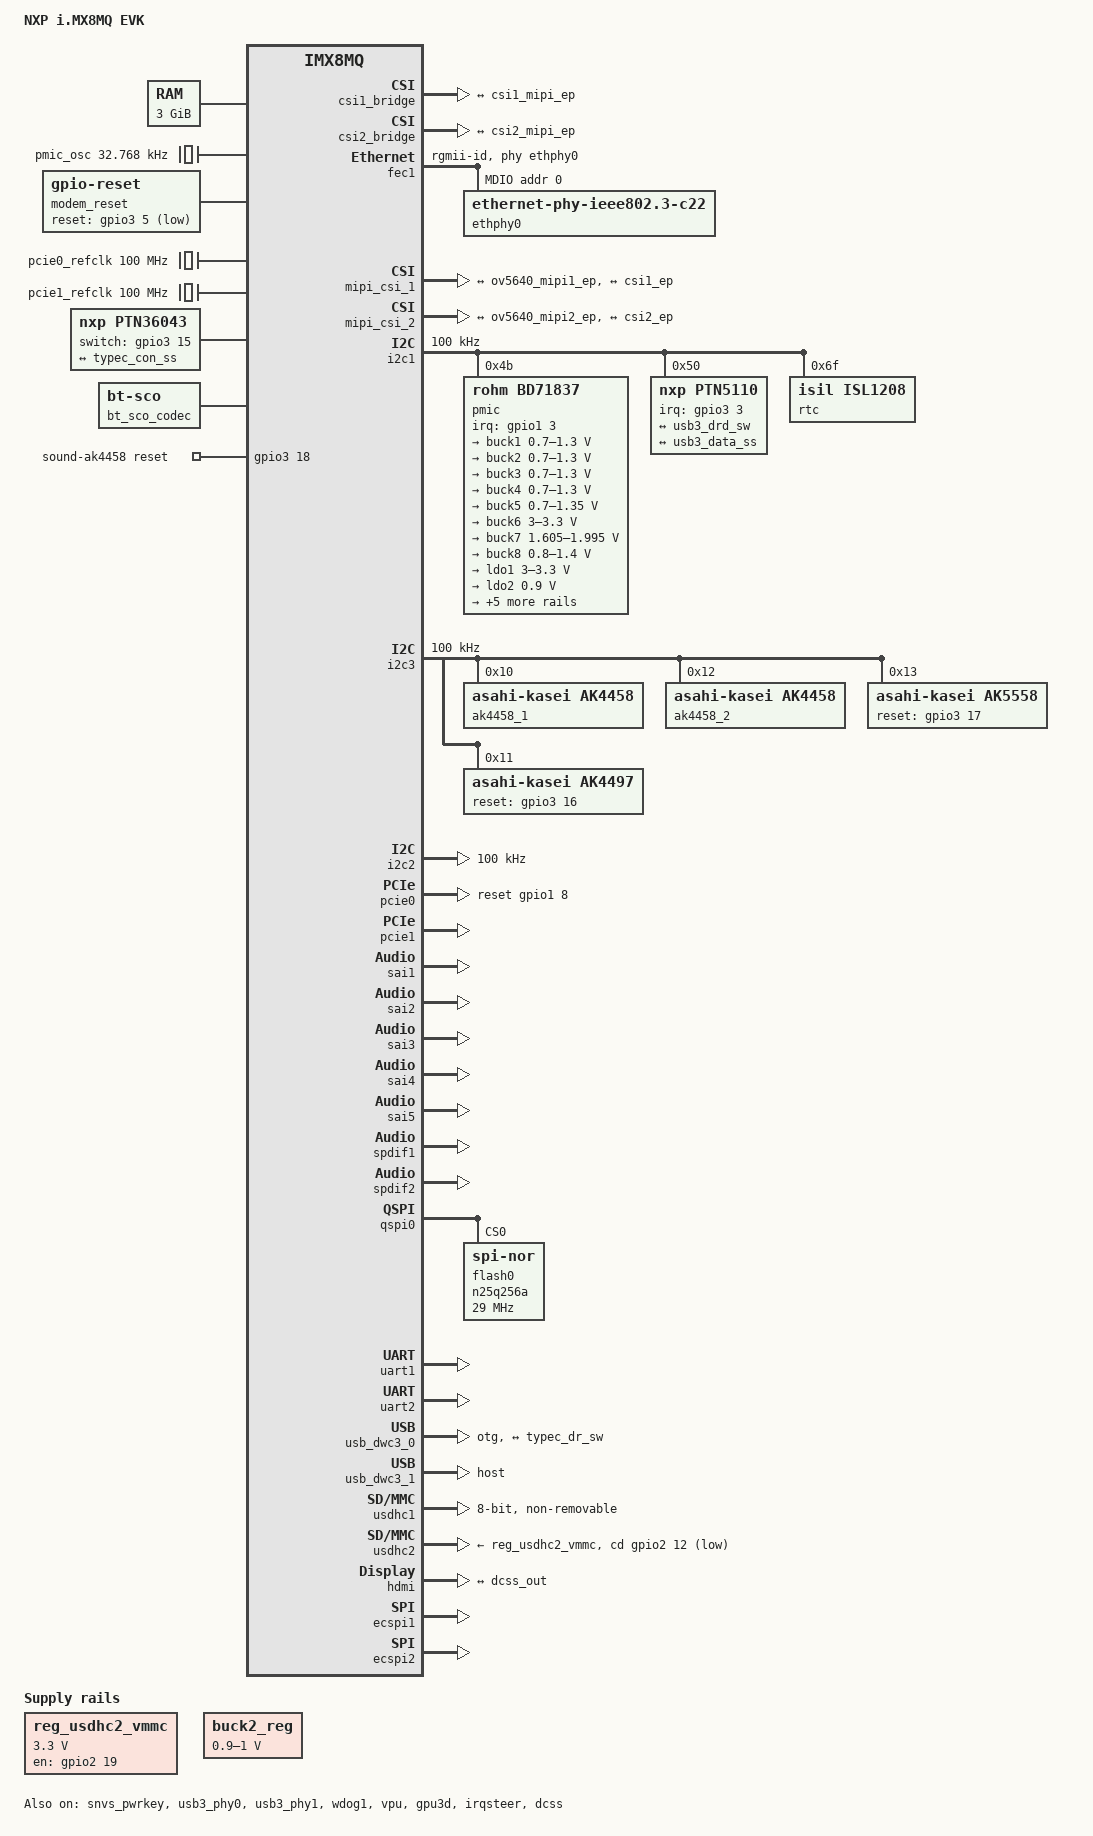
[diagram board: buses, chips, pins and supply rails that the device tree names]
// SPDX-License-Identifier: (GPL-2.0 OR MIT)
/*
 * Copyright 2017 NXP
 * Copyright (C) 2017-2018 Pengutronix, Lucas Stach <kernel@pengutronix.de>
 */

/dts-v1/;

#include <dt-bindings/usb/pd.h>
#include "imx8mq.dtsi"

/ {
	model = "NXP i.MX8MQ EVK";
	compatible = "fsl,imx8mq-evk", "fsl,imx8mq";

	chosen {
		stdout-path = &uart1;
	};

	memory@40000000 {
		device_type = "memory";
		reg = <0x00000000 0x40000000 0 0xc0000000>;
	};

	reserved-memory {
		#address-cells = <2>;
		#size-cells = <2>;
		ranges;

		rpmsg_reserved: rpmsg@0xb8000000 {
			no-map;
			reg = <0 0xb8000000 0 0x400000>;
		};
	};

	pmic_osc: clock-pmic {
		compatible = "fixed-clock";
		#clock-cells = <0>;
		clock-frequency = <32768>;
		clock-output-names = "pmic_osc";
	};

	modem_reset: modem-reset {
		compatible = "gpio-reset";
		reset-gpios = <&gpio3 5 GPIO_ACTIVE_LOW>;
		reset-delay-us = <2000>;
		reset-post-delay-ms = <40>;
		#reset-cells = <0>;
	};

	resmem: reserved-memory {
		#address-cells = <2>;
		#size-cells = <2>;
		ranges;

		/* global autoconfigured region for contiguous allocations */
		linux,cma {
			compatible = "shared-dma-pool";
			reusable;
			size = <0 0x38000000>;
			alloc-ranges = <0 0x80000000 0 0x38000000>;
			linux,cma-default;
		};
	};

	pcie0_refclk: pcie0-refclk {
		compatible = "fixed-clock";
		#clock-cells = <0>;
		clock-frequency = <100000000>;
	};

	pcie1_refclk: pcie0-refclk {
		compatible = "fixed-clock";
		#clock-cells = <0>;
		clock-frequency = <100000000>;
	};

	ptn36043 {
		compatible = "nxp,ptn36043";
		pinctrl-names = "default";
		pinctrl-0 = <&pinctrl_ss_sel>;
		switch-gpios = <&gpio3 15 GPIO_ACTIVE_HIGH>;
		orientation-switch;

		port {
			usb3_data_ss: endpoint {
				remote-endpoint = <&typec_con_ss>;
			};
		};
	};

	reg_usdhc2_vmmc: regulator-vsd-3v3 {
		pinctrl-names = "default";
		pinctrl-0 = <&pinctrl_reg_usdhc2>;
		compatible = "regulator-fixed";
		regulator-name = "VSD_3V3";
		regulator-min-microvolt = <3300000>;
		regulator-max-microvolt = <3300000>;
		gpio = <&gpio2 19 GPIO_ACTIVE_HIGH>;
		off-on-delay-us = <20000>;
		enable-active-high;
	};

	buck2_reg: regulator-buck2 {
		pinctrl-names = "default";
		pinctrl-0 = <&pinctrl_buck2>;
		compatible = "regulator-gpio";
		regulator-name = "vdd_arm";
		regulator-min-microvolt = <900000>;
		regulator-max-microvolt = <1000000>;
		gpios = <&gpio1 13 GPIO_ACTIVE_HIGH>;
		states = <1000000 0x0
			  900000 0x1>;
		regulator-boot-on;
		regulator-always-on;
	};

	ir-receiver {
		compatible = "gpio-ir-receiver";
		gpios = <&gpio1 12 GPIO_ACTIVE_LOW>;
		pinctrl-names = "default";
		pinctrl-0 = <&pinctrl_ir>;
		linux,autosuspend-period = <125>;
		status = "disabled";
	};

	bt_sco_codec: bt_sco_codec {
		#sound-dai-cells = <1>;
		compatible = "linux,bt-sco";
	};

	wm8524: audio-codec {
		#sound-dai-cells = <0>;
		compatible = "wlf,wm8524";
		wlf,mute-gpios = <&gpio1 8 GPIO_ACTIVE_LOW>;
		status = "disabled";
	};

	sound-bt-sco {
		compatible = "simple-audio-card";
		simple-audio-card,name = "bt-sco-audio";
		simple-audio-card,format = "dsp_a";
		simple-audio-card,bitclock-inversion;
		simple-audio-card,frame-master = <&btcpu>;
		simple-audio-card,bitclock-master = <&btcpu>;

		btcpu: simple-audio-card,cpu {
			sound-dai = <&sai3>;
			dai-tdm-slot-num = <2>;
			dai-tdm-slot-width = <16>;
		};

		simple-audio-card,codec {
			sound-dai = <&bt_sco_codec 1>;
		};
	};

	sound-wm8524 {
		compatible = "simple-audio-card";
		simple-audio-card,name = "wm8524-audio";
		simple-audio-card,format = "i2s";
		simple-audio-card,frame-master = <&cpudai>;
		simple-audio-card,bitclock-master = <&cpudai>;
		simple-audio-card,widgets =
			"Line", "Left Line Out Jack",
			"Line", "Right Line Out Jack";
		simple-audio-card,routing =
			"Left Line Out Jack", "LINEVOUTL",
			"Right Line Out Jack", "LINEVOUTR";

		cpudai: simple-audio-card,cpu {
			sound-dai = <&sai2>;
			dai-tdm-slot-num = <2>;
			dai-tdm-slot-width = <32>;
		};

		link_codec: simple-audio-card,codec {
			sound-dai = <&wm8524>;
			clocks = <&clk IMX8MQ_CLK_SAI2_ROOT>;
		};
	};

	sound-hdmi {
		compatible = "fsl,imx8mq-evk-cdnhdmi",
				"fsl,imx-audio-cdnhdmi";
		model = "imx-audio-hdmi";
		audio-cpu = <&sai4>;
		protocol = <1>;
		hdmi-out;
		constraint-rate = <44100>,
				<88200>,
				<176400>,
				<32000>,
				<48000>,
				<96000>,
				<192000>;
	};

	sound-spdif {
		compatible = "fsl,imx-audio-spdif";
		model = "imx-spdif";
		spdif-controller = <&spdif1>;
		spdif-out;
		spdif-in;
	};

	sound-hdmi-arc {
		compatible = "fsl,imx-audio-spdif";
		model = "imx-hdmi-arc";
		spdif-controller = <&spdif2>;
		spdif-in;
	};

	sound-ak4458 {
		compatible = "fsl,imx-audio-ak4458-mq";
		model = "ak4458-audio";
		audio-cpu = <&sai1>;
		audio-codec = <&ak4458_1>, <&ak4458_2>;
		reset-gpios = <&gpio3 18 GPIO_ACTIVE_HIGH>;
	};

	sound-ak5558 {
		compatible = "fsl,imx-audio-ak5558-mq";
		model = "ak5558-audio";
		audio-cpu = <&sai5>;
		audio-codec = <&ak5558>;
	};

	sound-ak4497 {
		compatible = "fsl,imx-audio-ak4497-mq";
		model = "ak4497-audio";
		audio-cpu = <&sai1>;
		audio-codec = <&ak4497>;
		status = "disabled";
	};
};

&A53_0 {
	cpu-supply = <&buck2_reg>;
};

&A53_1 {
	cpu-supply = <&buck2_reg>;
};

&A53_2 {
	cpu-supply = <&buck2_reg>;
};

&A53_3 {
	cpu-supply = <&buck2_reg>;
};

&csi1_bridge {
	fsl,mipi-mode;
	fsl,two-8bit-sensor-mode;
	status = "okay";

	port {
		csi1_ep: endpoint {
			remote-endpoint = <&csi1_mipi_ep>;
		};
	};
};

&csi2_bridge {
	fsl,mipi-mode;
	fsl,two-8bit-sensor-mode;
	status = "okay";

	port {
		csi2_ep: endpoint {
			remote-endpoint = <&csi2_mipi_ep>;
		};
	};
};

&ddrc {
	operating-points-v2 = <&ddrc_opp_table>;

	ddrc_opp_table: opp-table {
		compatible = "operating-points-v2";

		opp-25M {
			opp-hz = /bits/ 64 <25000000>;
		};

		opp-100M {
			opp-hz = /bits/ 64 <100000000>;
		};

		/*
		 * On imx8mq B0 PLL can't be bypassed so low bus is 166M
		 */
		opp-166M {
			opp-hz = /bits/ 64 <166935483>;
		};

		opp-800M {
			opp-hz = /bits/ 64 <800000000>;
		};
	};
};

&fec1 {
	pinctrl-names = "default";
	pinctrl-0 = <&pinctrl_fec1>;
	phy-mode = "rgmii-id";
	phy-handle = <&ethphy0>;
	fsl,magic-packet;
	status = "okay";

	mdio {
		#address-cells = <1>;
		#size-cells = <0>;

		ethphy0: ethernet-phy@0 {
			compatible = "ethernet-phy-ieee802.3-c22";
			reg = <0>;
			at803x,eee-disabled;
		};
	};
};

&mipi_csi_1 {
	#address-cells = <1>;
	#size-cells = <0>;
	status = "okay";
	port {
		mipi1_sensor_ep: endpoint@0 {
			remote-endpoint = <&ov5640_mipi1_ep>;
			data-lanes = <1 2>;
			bus-type = <4>;
		};

		csi1_mipi_ep: endpoint@1 {
			remote-endpoint = <&csi1_ep>;
		};
	};
};

&mipi_csi_2 {
	#address-cells = <1>;
	#size-cells = <0>;
	status = "okay";
	port {
		mipi2_sensor_ep: endpoint@0 {
			remote-endpoint = <&ov5640_mipi2_ep>;
			data-lanes = <1 2>;
			bus-type = <4>;
		};

		csi2_mipi_ep: endpoint@1 {
			remote-endpoint = <&csi2_ep>;
		};
	};
};

&i2c1 {
	clock-frequency = <100000>;
	pinctrl-names = "default";
	pinctrl-0 = <&pinctrl_i2c1>;
	status = "okay";

	ov5640_mipi2: ov5640_mipi2@3c {
		compatible = "ovti,ov5640_mipi";
		reg = <0x3c>;
		status = "disabled";
		pinctrl-names = "default";
		pinctrl-0 = <&pinctrl_csi2_pwn>, <&pinctrl_csi_rst>;
		clocks = <&clk IMX8MQ_CLK_CLKO2>;
		clock-names = "csi_mclk";
		assigned-clocks = <&clk IMX8MQ_CLK_CLKO2>;
		assigned-clock-parents = <&clk IMX8MQ_SYS2_PLL_200M>;
		assigned-clock-rates = <20000000>;
		csi_id = <1>;
		pwn-gpios = <&gpio1 5 GPIO_ACTIVE_HIGH>;
		mclk = <20000000>;
		mclk_source = <0>;
		port {
			ov5640_mipi2_ep: endpoint {
				remote-endpoint = <&mipi2_sensor_ep>;
			};
		};
	};

	pmic: bd71837@4b {
		compatible = "rohm,bd71837";
		reg = <0x4b>;
		pinctrl-names = "default";
		pinctrl-0 = <&pinctrl_pmic>;
		#clock-cells = <0>;
		clocks = <&pmic_osc>;
		clock-output-names = "pmic_clk";
		interrupt-parent = <&gpio1>;
		interrupts = <3 IRQ_TYPE_LEVEL_LOW>;

		regulators {
			buck1: BUCK1 {
				regulator-name = "buck1";
				regulator-min-microvolt = <700000>;
				regulator-max-microvolt = <1300000>;
				regulator-boot-on;
				regulator-always-on;
				regulator-ramp-delay = <1250>;
				rohm,dvs-run-voltage = <1000000>;
				rohm,dvs-idle-voltage = <900000>;
				rohm,dvs-suspend-voltage = <800000>;
			};

			buck2: BUCK2 {
				regulator-name = "buck2";
				regulator-min-microvolt = <700000>;
				regulator-max-microvolt = <1300000>;
				regulator-boot-on;
				regulator-always-on;
				rohm,dvs-run-voltage = <1000000>;
				rohm,dvs-idle-voltage = <900000>;
			};

			buck3: BUCK3 {
				regulator-name = "buck3";
				regulator-min-microvolt = <700000>;
				regulator-max-microvolt = <1300000>;
				regulator-boot-on;
				rohm,dvs-run-voltage = <900000>;
			};

			buck4: BUCK4 {
				regulator-name = "buck4";
				regulator-min-microvolt = <700000>;
				regulator-max-microvolt = <1300000>;
				regulator-boot-on;
				regulator-always-on;
				rohm,dvs-run-voltage = <900000>;
			};

			buck5: BUCK5 {
				regulator-name = "buck5";
				regulator-min-microvolt = <700000>;
				regulator-max-microvolt = <1350000>;
				regulator-boot-on;
				regulator-always-on;
			};

			buck6: BUCK6 {
				regulator-name = "buck6";
				regulator-min-microvolt = <3000000>;
				regulator-max-microvolt = <3300000>;
				regulator-boot-on;
				regulator-always-on;
			};

			buck7: BUCK7 {
				regulator-name = "buck7";
				regulator-min-microvolt = <1605000>;
				regulator-max-microvolt = <1995000>;
				regulator-boot-on;
				regulator-always-on;
			};

			buck8: BUCK8 {
				regulator-name = "buck8";
				regulator-min-microvolt = <800000>;
				regulator-max-microvolt = <1400000>;
				regulator-boot-on;
				regulator-always-on;
			};

			ldo1: LDO1 {
				regulator-name = "ldo1";
				regulator-min-microvolt = <3000000>;
				regulator-max-microvolt = <3300000>;
				regulator-boot-on;
				regulator-always-on;
			};

			ldo2: LDO2 {
				regulator-name = "ldo2";
				regulator-min-microvolt = <900000>;
				regulator-max-microvolt = <900000>;
				regulator-boot-on;
				regulator-always-on;
			};

			ldo3: LDO3 {
				regulator-name = "ldo3";
				regulator-min-microvolt = <1800000>;
				regulator-max-microvolt = <3300000>;
				regulator-boot-on;
				regulator-always-on;
			};

			ldo4: LDO4 {
				regulator-name = "ldo4";
				regulator-min-microvolt = <900000>;
				regulator-max-microvolt = <1800000>;
				regulator-boot-on;
				regulator-always-on;
			};

			ldo5: LDO5 {
				regulator-name = "ldo5";
				regulator-min-microvolt = <1800000>;
				regulator-max-microvolt = <3300000>;
				regulator-boot-on;
				regulator-always-on;
			};

			ldo6: LDO6 {
				regulator-name = "ldo6";
				regulator-min-microvolt = <900000>;
				regulator-max-microvolt = <1800000>;
				regulator-boot-on;
				regulator-always-on;
			};

			ldo7: LDO7 {
				regulator-name = "ldo7";
				regulator-min-microvolt = <1800000>;
				regulator-max-microvolt = <3300000>;
				regulator-boot-on;
				regulator-always-on;
			};
		};
	};

	ptn5110: tcpc@50 {
		compatible = "nxp,ptn5110";
		pinctrl-names = "default";
		pinctrl-0 = <&pinctrl_typec>;
		reg = <0x50>;
		interrupt-parent = <&gpio3>;
		interrupts = <3 8>;

		port {
			typec_dr_sw: endpoint {
				remote-endpoint = <&usb3_drd_sw>;
			};
		};

		usb_con: connector {
			compatible = "usb-c-connector";
			label = "USB-C";
			power-role = "dual";
			data-role = "dual";
			try-power-role = "sink";
			source-pdos = <PDO_FIXED(5000, 3000, PDO_FIXED_USB_COMM)>;
			sink-pdos = <PDO_FIXED(5000, 3000, PDO_FIXED_USB_COMM)
				     PDO_VAR(5000, 20000, 3000)>;
			op-sink-microwatt = <15000000>;
			self-powered;

			ports {
				#address-cells = <1>;
				#size-cells = <0>;

				port@1 {
					reg = <1>;
					typec_con_ss: endpoint {
						remote-endpoint = <&usb3_data_ss>;
					};
				};
			};
		};
	};

	rtc@6f {
		compatible = "isil,isl1208";
		reg = <0x6f>;
	};
};

&i2c3 {
	clock-frequency = <100000>;
	pinctrl-names = "default";
	pinctrl-0 = <&pinctrl_i2c3>;
	status = "okay";

	synaptics_dsx_ts: synaptics_dsx_ts@20 {
		compatible = "synaptics_dsx";
		reg = <0x20>;
		pinctrl-names = "default";
		pinctrl-0 = <&pinctrl_i2c1_dsi_ts_int>;
		interrupt-parent = <&gpio5>;
		interrupts = <7 IRQ_TYPE_LEVEL_LOW>;
		synaptics,diagonal-rotation;
		status = "disabled";
	};

	ak4458_1: ak4458@10 {
		compatible = "asahi-kasei,ak4458";
		reg = <0x10>;
	};

	ak4458_2: ak4458@12 {
		compatible = "asahi-kasei,ak4458";
		reg = <0x12>;
	};

	ak5558: ak5558@13 {
		compatible = "asahi-kasei,ak5558";
		reg = <0x13>;
		reset-gpios = <&gpio3 17 GPIO_ACTIVE_HIGH>;
	};

	ak4497: ak4497@11 {
		compatible = "asahi-kasei,ak4497";
		reg = <0x11>;
		reset-gpios = <&gpio3 16 GPIO_ACTIVE_HIGH>;
		dsd-path = <1>;
	};

	adv_bridge: adv7535@3d {
		compatible = "adi,adv7535";
		reg = <0x3d>;
		adi,addr-cec = <0x3b>;
		adi,dsi-lanes = <4>;
		pinctrl-0 = <&pinctrl_i2c1_dsi_ts_int>;
		interrupt-parent = <&gpio5>;
		interrupts = <7 IRQ_TYPE_LEVEL_LOW>;

		status = "disabled";
	};
};

&i2c2 {
	clock-frequency = <100000>;
	pinctrl-names = "default";
	pinctrl-0 = <&pinctrl_i2c2>;
	status = "okay";

	ov5640_mipi: ov5640_mipi@3c {
		compatible = "ovti,ov5640_mipi";
		reg = <0x3c>;
		status = "disable";
		pinctrl-names = "default";
		pinctrl-0 = <&pinctrl_csi1_pwn>;
		clocks = <&clk IMX8MQ_CLK_CLKO2>;
		clock-names = "csi_mclk";
		assigned-clocks = <&clk IMX8MQ_CLK_CLKO2>;
		assigned-clock-parents = <&clk IMX8MQ_SYS2_PLL_200M>;
		assigned-clock-rates = <20000000>;
		csi_id = <0>;
		pwn-gpios = <&gpio1 3 GPIO_ACTIVE_HIGH>;
		mclk = <20000000>;
		mclk_source = <0>;
		port {
			ov5640_mipi1_ep: endpoint {
				remote-endpoint = <&mipi1_sensor_ep>;
			};
		};
	};
};

&pcie0 {
	pinctrl-names = "default";
	pinctrl-0 = <&pinctrl_pcie0>;
	reset-gpio = <&gpio1 8 GPIO_ACTIVE_HIGH>;
	clocks = <&clk IMX8MQ_CLK_PCIE1_ROOT>,
		 <&clk IMX8MQ_CLK_PCIE1_AUX>,
		 <&clk IMX8MQ_CLK_PCIE1_PHY>,
		 <&pcie0_refclk>;
	clock-names = "pcie", "pcie_aux", "pcie_phy", "pcie_bus";
	assigned-clocks = <&clk IMX8MQ_CLK_PCIE1_AUX>;
	assigned-clock-rates = <10000000>;
	assigned-clock-parents = <&clk IMX8MQ_SYS2_PLL_50M>;
	hard-wired = <1>;
	status = "okay";
};

&pcie1 {
	clocks = <&clk IMX8MQ_CLK_PCIE2_ROOT>,
		 <&clk IMX8MQ_CLK_PCIE2_AUX>,
		 <&clk IMX8MQ_CLK_PCIE2_PHY>,
		 <&pcie1_refclk>;
	clock-names = "pcie", "pcie_aux", "pcie_phy", "pcie_bus";
	assigned-clocks = <&clk IMX8MQ_CLK_PCIE2_AUX>;
	assigned-clock-rates = <10000000>;
	assigned-clock-parents = <&clk IMX8MQ_SYS2_PLL_50M>;
	status = "okay";
};

&pcie1_ep {
	clocks = <&clk IMX8MQ_CLK_PCIE2_ROOT>,
		 <&clk IMX8MQ_CLK_PCIE2_AUX>,
		 <&clk IMX8MQ_CLK_PCIE2_PHY>,
		 <&pcie1_refclk>;
	clock-names = "pcie", "pcie_aux", "pcie_phy", "pcie_bus";
	assigned-clocks = <&clk IMX8MQ_CLK_PCIE2_AUX>;
	assigned-clock-rates = <10000000>;
	assigned-clock-parents = <&clk IMX8MQ_SYS2_PLL_50M>;
	status = "disabled";
};

&pgc_gpu {
	power-supply = <&buck3>;
};

&pgc_vpu {
	power-supply = <&buck4>;
};

&sai1 {
	pinctrl-names = "default", "pcm_b2m", "dsd";
	pinctrl-0 = <&pinctrl_sai1_pcm>;
	pinctrl-1 = <&pinctrl_sai1_pcm_b2m>;
	pinctrl-2 = <&pinctrl_sai1_dsd>;
	assigned-clocks = <&clk IMX8MQ_CLK_SAI1>;
	assigned-clock-parents = <&clk IMX8MQ_AUDIO_PLL1_OUT>;
	assigned-clock-rates = <49152000>;
	clocks = <&clk IMX8MQ_CLK_SAI1_IPG>, <&clk IMX8MQ_CLK_DUMMY>,
		<&clk IMX8MQ_CLK_SAI1_ROOT>, <&clk IMX8MQ_CLK_DUMMY>,
		<&clk IMX8MQ_CLK_DUMMY>, <&clk IMX8MQ_AUDIO_PLL1_OUT>,
		<&clk IMX8MQ_AUDIO_PLL2_OUT>;
	clock-names = "bus", "mclk0", "mclk1", "mclk2", "mclk3", "pll8k", "pll11k";
	fsl,sai-multi-lane;
	fsl,dataline,dsd = <0 0xff 0xff 2 0xff 0x11>;
	dmas = <&sdma2 8 25 0>, <&sdma2 9 25 0>;
	status = "okay";
};

&sai2 {
	pinctrl-names = "default";
	pinctrl-0 = <&pinctrl_sai2>;
	assigned-clocks = <&clk IMX8MQ_CLK_SAI2>;
	assigned-clock-parents = <&clk IMX8MQ_AUDIO_PLL1_OUT>;
	assigned-clock-rates = <24576000>;
	status = "okay";
};

&sai3 {
	#sound-dai-cells = <0>;
	pinctrl-names = "default";
	pinctrl-0 = <&pinctrl_sai3>;
	assigned-clocks = <&clk IMX8MQ_CLK_SAI3>;
	assigned-clock-parents = <&clk IMX8MQ_AUDIO_PLL1_OUT>;
	assigned-clock-rates = <24576000>;
	status = "okay";
};

&sai4 {
	assigned-clocks = <&clk IMX8MQ_CLK_SAI4>;
	assigned-clock-parents = <&clk IMX8MQ_AUDIO_PLL1_OUT>;
	assigned-clock-rates = <24576000>;
	clocks = <&clk IMX8MQ_CLK_SAI4_IPG>, <&clk IMX8MQ_CLK_DUMMY>,
		<&clk IMX8MQ_CLK_SAI4_ROOT>, <&clk IMX8MQ_CLK_DUMMY>,
		<&clk IMX8MQ_CLK_DUMMY>, <&clk IMX8MQ_AUDIO_PLL1_OUT>,
		<&clk IMX8MQ_AUDIO_PLL2_OUT>;
	clock-names = "bus", "mclk0", "mclk1", "mclk2", "mclk3", "pll8k", "pll11k";
	status = "okay";
};

&sai5 {
	pinctrl-names = "default";
	pinctrl-0 = <&pinctrl_sai5>;
	assigned-clocks = <&clk IMX8MQ_CLK_SAI5>;
	assigned-clock-parents = <&clk IMX8MQ_AUDIO_PLL1_OUT>;
	assigned-clock-rates = <49152000>;
	clocks = <&clk IMX8MQ_CLK_SAI5_IPG>, <&clk IMX8MQ_CLK_DUMMY>,
		<&clk IMX8MQ_CLK_SAI5_ROOT>, <&clk IMX8MQ_CLK_DUMMY>,
		<&clk IMX8MQ_CLK_DUMMY>, <&clk IMX8MQ_AUDIO_PLL1_OUT>,
		<&clk IMX8MQ_AUDIO_PLL2_OUT>;
	clock-names = "bus", "mclk0", "mclk1", "mclk2", "mclk3", "pll8k", "pll11k";
	fsl,sai-asynchronous;
	status = "okay";
};

&snvs_pwrkey {
	status = "okay";
};

&spdif1 {
	pinctrl-names = "default";
	pinctrl-0 = <&pinctrl_spdif1>;
	assigned-clocks = <&clk IMX8MQ_CLK_SPDIF1>;
	assigned-clock-parents = <&clk IMX8MQ_AUDIO_PLL1_OUT>;
	assigned-clock-rates = <24576000>;
	clocks = <&clk IMX8MQ_CLK_IPG_ROOT>, <&clk IMX8MQ_CLK_25M>,
		<&clk IMX8MQ_CLK_SPDIF1>, <&clk IMX8MQ_CLK_DUMMY>,
		<&clk IMX8MQ_CLK_DUMMY>, <&clk IMX8MQ_CLK_DUMMY>,
		<&clk IMX8MQ_CLK_IPG_ROOT>, <&clk IMX8MQ_CLK_DUMMY>,
		<&clk IMX8MQ_CLK_DUMMY>, <&clk IMX8MQ_CLK_DUMMY>,
		<&clk IMX8MQ_AUDIO_PLL1_OUT>, <&clk IMX8MQ_AUDIO_PLL2_OUT>;
	clock-names = "core", "rxtx0", "rxtx1", "rxtx2", "rxtx3", "rxtx4",
		      "rxtx5", "rxtx6", "rxtx7", "spba", "pll8k", "pll11k";
	status = "okay";
};

&spdif2 {
	assigned-clocks = <&clk IMX8MQ_CLK_SPDIF2>;
	assigned-clock-parents = <&clk IMX8MQ_AUDIO_PLL1_OUT>;
	assigned-clock-rates = <24576000>;
	status = "okay";
};

&qspi0 {
	pinctrl-names = "default";
	pinctrl-0 = <&pinctrl_qspi>;
	status = "okay";

	flash0: n25q256a@0 {
		reg = <0>;
		#address-cells = <1>;
		#size-cells = <1>;
		compatible = "jedec,spi-nor";
		spi-max-frequency = <29000000>;
		spi-tx-bus-width = <4>;
		spi-rx-bus-width = <4>;
		spi-nor,ddr-quad-read-dummy = <6>;
	};
};

&uart1 {
	pinctrl-names = "default";
	pinctrl-0 = <&pinctrl_uart1>;
	assigned-clocks = <&clk IMX8MQ_CLK_UART1>;
	assigned-clock-parents = <&clk IMX8MQ_CLK_25M>;
	fsl,uart-has-rtscts;
	status = "okay";
};

&uart2 {
	pinctrl-names = "default";
	pinctrl-0 = <&pinctrl_uart2>;
	assigned-clocks = <&clk IMX8MQ_CLK_UART2>;
	assigned-clock-parents = <&clk IMX8MQ_CLK_25M>;
	fsl,uart-has-rtscts;
	status = "okay";
};

&uart3 { /* BT */
	pinctrl-names = "default";
	pinctrl-0 = <&pinctrl_uart3>;
	assigned-clocks = <&clk IMX8MQ_CLK_UART3>;
	assigned-clock-parents = <&clk IMX8MQ_SYS1_PLL_80M>;
	fsl,uart-has-rtscts;
	resets = <&modem_reset>;
	status = "disabled";
};

&usb3_phy0 {
	vbus-power-supply = <&ptn5110>;
	status = "okay";
};

&usb_dwc3_0 {
	dr_mode = "otg";
	hnp-disable;
	srp-disable;
	adp-disable;
	usb-role-switch;
	role-switch-default-mode = "none";
	snps,dis-u1-entry-quirk;
	snps,dis-u2-entry-quirk;
	status = "okay";

	port {
		usb3_drd_sw: endpoint {
			remote-endpoint = <&typec_dr_sw>;
		};
	};
};

&usb3_phy1 {
	status = "okay";
};

&usb_dwc3_1 {
	dr_mode = "host";
	status = "okay";
};

&usdhc1 {
	assigned-clocks = <&clk IMX8MQ_CLK_USDHC1>;
	assigned-clock-rates = <400000000>;
	pinctrl-names = "default", "state_100mhz", "state_200mhz";
	pinctrl-0 = <&pinctrl_usdhc1>;
	pinctrl-1 = <&pinctrl_usdhc1_100mhz>;
	pinctrl-2 = <&pinctrl_usdhc1_200mhz>;
	vqmmc-supply = <&buck7>;
	bus-width = <8>;
	non-removable;
	no-sd;
	no-sdio;
	status = "okay";
};

&usdhc2 {
	assigned-clocks = <&clk IMX8MQ_CLK_USDHC2>;
	assigned-clock-rates = <200000000>;
	pinctrl-names = "default", "state_100mhz", "state_200mhz";
	pinctrl-0 = <&pinctrl_usdhc2>;
	pinctrl-1 = <&pinctrl_usdhc2_100mhz>;
	pinctrl-2 = <&pinctrl_usdhc2_200mhz>;
	cd-gpios = <&gpio2 12 GPIO_ACTIVE_LOW>;
	vmmc-supply = <&reg_usdhc2_vmmc>;
	status = "okay";
};

&wdog1 {
	pinctrl-names = "default";
	pinctrl-0 = <&pinctrl_wdog>;
	fsl,ext-reset-output;
	status = "okay";
};

&iomuxc {
	pinctrl-names = "default";
	pinctrl-0 = <&pinctrl_hog>;

	pinctrl_hog: hoggrp {
		fsl,pins = <
			MX8MQ_IOMUXC_NAND_READY_B_GPIO3_IO16		0x19
			MX8MQ_IOMUXC_NAND_WE_B_GPIO3_IO17		0x19
			MX8MQ_IOMUXC_NAND_WP_B_GPIO3_IO18		0x19
			MX8MQ_IOMUXC_GPIO1_IO00_ANAMIX_REF_CLK_32K	0x16
		>;
	};

	pinctrl_buck2: vddarmgrp {
		fsl,pins = <
			MX8MQ_IOMUXC_GPIO1_IO13_GPIO1_IO13		0x19
		>;

	};

	pinctrl_csi1_pwn: csi1_pwn_grp {
		fsl,pins = <
			MX8MQ_IOMUXC_GPIO1_IO03_GPIO1_IO3		0x19
		>;
	};
	pinctrl_csi2_pwn: csi2_pwn_grp {
		fsl,pins = <
			MX8MQ_IOMUXC_GPIO1_IO05_GPIO1_IO5		0x19
		>;
	};

	pinctrl_csi_rst: csi_rst_grp {
		fsl,pins = <
			MX8MQ_IOMUXC_GPIO1_IO06_GPIO1_IO6		0x19
			MX8MQ_IOMUXC_GPIO1_IO15_CCMSRCGPCMIX_CLKO2	0x59
		>;
	};

	pinctrl_ecspi1: ecspi1grp {
		fsl,pins = <
			MX8MQ_IOMUXC_ECSPI1_SCLK_ECSPI1_SCLK		0x82
			MX8MQ_IOMUXC_ECSPI1_MOSI_ECSPI1_MOSI		0x82
			MX8MQ_IOMUXC_ECSPI1_MISO_ECSPI1_MISO		0x82
			MX8MQ_IOMUXC_GPIO1_IO05_GPIO1_IO5		0x19
		>;
	};

	pinctrl_ecspi1_cs: ecspi1_cs_grp {
		fsl,pins = <
			MX8MQ_IOMUXC_ECSPI1_SS0_GPIO5_IO9		0x19
		>;
	};

	pinctrl_ecspi2: ecspi2grp {
		fsl,pins = <
			MX8MQ_IOMUXC_ECSPI2_SCLK_ECSPI2_SCLK		0x82
			MX8MQ_IOMUXC_ECSPI2_MOSI_ECSPI2_MOSI		0x82
			MX8MQ_IOMUXC_ECSPI2_MISO_ECSPI2_MISO		0x82
			MX8MQ_IOMUXC_GPIO1_IO03_GPIO1_IO3		0x19
		>;
	};

	pinctrl_ecspi2_cs: ecspi2_cs_grp {
		fsl,pins = <
			MX8MQ_IOMUXC_ECSPI2_SS0_GPIO5_IO13		0x19
		>;
	};

	pinctrl_fec1: fec1grp {
		fsl,pins = <
			MX8MQ_IOMUXC_ENET_MDC_ENET1_MDC			0x3
			MX8MQ_IOMUXC_ENET_MDIO_ENET1_MDIO		0x23
			MX8MQ_IOMUXC_ENET_TD3_ENET1_RGMII_TD3		0x1f
			MX8MQ_IOMUXC_ENET_TD2_ENET1_RGMII_TD2		0x1f
			MX8MQ_IOMUXC_ENET_TD1_ENET1_RGMII_TD1		0x1f
			MX8MQ_IOMUXC_ENET_TD0_ENET1_RGMII_TD0		0x1f
			MX8MQ_IOMUXC_ENET_RD3_ENET1_RGMII_RD3		0x91
			MX8MQ_IOMUXC_ENET_RD2_ENET1_RGMII_RD2		0x91
			MX8MQ_IOMUXC_ENET_RD1_ENET1_RGMII_RD1		0x91
			MX8MQ_IOMUXC_ENET_RD0_ENET1_RGMII_RD0		0x91
			MX8MQ_IOMUXC_ENET_TXC_ENET1_RGMII_TXC		0x1f
			MX8MQ_IOMUXC_ENET_RXC_ENET1_RGMII_RXC		0x91
			MX8MQ_IOMUXC_ENET_RX_CTL_ENET1_RGMII_RX_CTL	0x91
			MX8MQ_IOMUXC_ENET_TX_CTL_ENET1_RGMII_TX_CTL	0x1f
			MX8MQ_IOMUXC_GPIO1_IO09_GPIO1_IO9		0x19
		>;
	};

	pinctrl_i2c1: i2c1grp {
		fsl,pins = <
			MX8MQ_IOMUXC_I2C1_SCL_I2C1_SCL			0x4000007f
			MX8MQ_IOMUXC_I2C1_SDA_I2C1_SDA			0x4000007f
		>;
	};

	pinctrl_ir: irgrp {
		fsl,pins = <
			MX8MQ_IOMUXC_GPIO1_IO12_GPIO1_IO12		0x4f
		>;
	};

	pinctrl_i2c3: i2c3grp {
		fsl,pins = <
			MX8MQ_IOMUXC_I2C3_SCL_I2C3_SCL			0x4000007f
			MX8MQ_IOMUXC_I2C3_SDA_I2C3_SDA			0x4000007f
		>;
	};

	pinctrl_i2c1_dsi_ts_int: dsi_ts_int {
		fsl,pins = <
			MX8MQ_IOMUXC_ECSPI1_MOSI_GPIO5_IO7		0x19
		>;
	};

	pinctrl_i2c2: i2c2grp {
		fsl,pins = <
			MX8MQ_IOMUXC_I2C2_SCL_I2C2_SCL			0x40000067
			MX8MQ_IOMUXC_I2C2_SDA_I2C2_SDA			0x40000067
		>;
	};

	pinctrl_pcie0: pcie0grp {
		fsl,pins = <
			MX8MQ_IOMUXC_GPIO1_IO08_GPIO1_IO8		0x16 /* S_PLTRST */
			MX8MQ_IOMUXC_GPIO1_IO12_GPIO1_IO12		0x16 /* S_WAKE */
		>;
	};

	pinctrl_pmic: pmicirq {
		fsl,pins = <
			MX8MQ_IOMUXC_GPIO1_IO07_GPIO1_IO7		0x41
		>;
	};

	pinctrl_qspi: qspigrp {
		fsl,pins = <
			MX8MQ_IOMUXC_NAND_ALE_QSPI_A_SCLK	0x82
			MX8MQ_IOMUXC_NAND_CE0_B_QSPI_A_SS0_B	0x82
			MX8MQ_IOMUXC_NAND_DATA00_QSPI_A_DATA0	0x82
			MX8MQ_IOMUXC_NAND_DATA01_QSPI_A_DATA1	0x82
			MX8MQ_IOMUXC_NAND_DATA02_QSPI_A_DATA2	0x82
			MX8MQ_IOMUXC_NAND_DATA03_QSPI_A_DATA3	0x82

		>;
	};

	pinctrl_reg_usdhc2: regusdhc2gpiogrp {
		fsl,pins = <
			MX8MQ_IOMUXC_SD2_RESET_B_GPIO2_IO19		0x41
		>;
	};

	pinctrl_sai2: sai2grp {
		fsl,pins = <
			MX8MQ_IOMUXC_SAI2_TXFS_SAI2_TX_SYNC     0xd6
			MX8MQ_IOMUXC_SAI2_TXC_SAI2_TX_BCLK      0xd6
			MX8MQ_IOMUXC_SAI2_MCLK_SAI2_MCLK        0xd6
			MX8MQ_IOMUXC_SAI2_TXD0_SAI2_TX_DATA0    0xd6
		>;
	};

	pinctrl_sai3: sai3grp {
		fsl,pins = <
			MX8MQ_IOMUXC_SAI3_TXFS_SAI3_TX_SYNC     0xd6
			MX8MQ_IOMUXC_SAI3_TXC_SAI3_TX_BCLK      0xd6
			MX8MQ_IOMUXC_SAI3_TXD_SAI3_TX_DATA0	0xd6
			MX8MQ_IOMUXC_SAI3_RXD_SAI3_RX_DATA0	0xd6
		>;
	};

	pinctrl_sai1_pcm: sai1grp_pcm {
		fsl,pins = <
			MX8MQ_IOMUXC_SAI1_MCLK_SAI1_MCLK		0xd6
			MX8MQ_IOMUXC_SAI1_TXFS_SAI1_TX_SYNC		0xd6
			MX8MQ_IOMUXC_SAI1_RXD7_SAI1_TX_SYNC		0xd6
			MX8MQ_IOMUXC_SAI1_TXC_SAI1_TX_BCLK		0xd6
			MX8MQ_IOMUXC_SAI1_TXD0_SAI1_TX_DATA0		0xd6
			MX8MQ_IOMUXC_SAI1_TXD1_SAI1_TX_DATA1		0xd6
			MX8MQ_IOMUXC_SAI1_TXD2_SAI1_TX_DATA2		0xd6
			MX8MQ_IOMUXC_SAI1_TXD3_SAI1_TX_DATA3		0xd6
			MX8MQ_IOMUXC_SAI1_TXD4_SAI1_TX_DATA4		0xd6
			MX8MQ_IOMUXC_SAI1_TXD5_SAI1_TX_DATA5		0xd6
			MX8MQ_IOMUXC_SAI1_TXD6_SAI1_TX_DATA6		0xd6
			MX8MQ_IOMUXC_SAI1_TXD7_SAI1_TX_DATA7		0xd6
		>;
	};

	pinctrl_sai1_pcm_b2m: sai1grp_pcm_b2m {
		fsl,pins = <
			MX8MQ_IOMUXC_SAI1_MCLK_SAI1_TX_BCLK		0xd6
			MX8MQ_IOMUXC_SAI1_TXFS_SAI1_TX_SYNC		0xd6
			MX8MQ_IOMUXC_SAI1_RXD7_SAI1_TX_SYNC		0xd6
			MX8MQ_IOMUXC_SAI1_TXC_SAI1_TX_BCLK		0xd6
			MX8MQ_IOMUXC_SAI1_TXD0_SAI1_TX_DATA0		0xd6
			MX8MQ_IOMUXC_SAI1_TXD1_SAI1_TX_DATA1		0xd6
			MX8MQ_IOMUXC_SAI1_TXD2_SAI1_TX_DATA2		0xd6
			MX8MQ_IOMUXC_SAI1_TXD3_SAI1_TX_DATA3		0xd6
			MX8MQ_IOMUXC_SAI1_TXD4_SAI1_TX_DATA4		0xd6
			MX8MQ_IOMUXC_SAI1_TXD5_SAI1_TX_DATA5		0xd6
			MX8MQ_IOMUXC_SAI1_TXD6_SAI1_TX_DATA6		0xd6
			MX8MQ_IOMUXC_SAI1_TXD7_SAI1_TX_DATA7		0xd6
		>;
	};

	pinctrl_sai1_dsd: sai1grp_dsd {
		fsl,pins = <
			MX8MQ_IOMUXC_SAI1_MCLK_SAI1_MCLK		0xd6
			MX8MQ_IOMUXC_SAI1_TXFS_SAI1_TX_SYNC		0xd6
			MX8MQ_IOMUXC_SAI1_RXD7_SAI1_TX_DATA4		0xd6
			MX8MQ_IOMUXC_SAI1_TXC_SAI1_TX_BCLK		0xd6
			MX8MQ_IOMUXC_SAI1_TXD0_SAI1_TX_DATA0		0xd6
			MX8MQ_IOMUXC_SAI1_TXD1_SAI1_TX_DATA1		0xd6
			MX8MQ_IOMUXC_SAI1_TXD2_SAI1_TX_DATA2		0xd6
			MX8MQ_IOMUXC_SAI1_TXD3_SAI1_TX_DATA3		0xd6
			MX8MQ_IOMUXC_SAI1_TXD4_SAI1_TX_DATA4		0xd6
			MX8MQ_IOMUXC_SAI1_TXD5_SAI1_TX_DATA5		0xd6
			MX8MQ_IOMUXC_SAI1_TXD6_SAI1_TX_DATA6		0xd6
			MX8MQ_IOMUXC_SAI1_TXD7_SAI1_TX_DATA7		0xd6
		>;
	};

	pinctrl_sai5: sai5grp {
		fsl,pins = <
			MX8MQ_IOMUXC_SAI5_MCLK_SAI5_MCLK	0xd6
			MX8MQ_IOMUXC_SAI5_RXC_SAI5_RX_BCLK	0xd6
			MX8MQ_IOMUXC_SAI5_RXFS_SAI5_RX_SYNC	0xd6
			MX8MQ_IOMUXC_SAI5_RXD0_SAI5_RX_DATA0	0xd6
			MX8MQ_IOMUXC_SAI5_RXD1_SAI5_RX_DATA1	0xd6
			MX8MQ_IOMUXC_SAI5_RXD2_SAI5_RX_DATA2	0xd6
			MX8MQ_IOMUXC_SAI5_RXD3_SAI5_RX_DATA3	0xd6
		>;
	};

	pinctrl_spdif1: spdif1grp {
		fsl,pins = <
			MX8MQ_IOMUXC_SPDIF_TX_SPDIF1_OUT	0xd6
			MX8MQ_IOMUXC_SPDIF_RX_SPDIF1_IN		0xd6
		>;
	};

	pinctrl_ss_sel: usb3ssgrp{
		fsl,pins = <
			MX8MQ_IOMUXC_NAND_RE_B_GPIO3_IO15		0x16
		>;
	};

	pinctrl_typec: typecgrp {
		fsl,pins = <
			MX8MQ_IOMUXC_NAND_CE2_B_GPIO3_IO3		0x17059
		>;
	};

	pinctrl_uart1: uart1grp {
		fsl,pins = <
			MX8MQ_IOMUXC_UART1_RXD_UART1_DCE_RX		0x49
			MX8MQ_IOMUXC_UART1_TXD_UART1_DCE_TX		0x49
			MX8MQ_IOMUXC_UART3_RXD_UART1_DCE_CTS_B		0x49
			MX8MQ_IOMUXC_UART3_TXD_UART1_DCE_RTS_B		0x49
		>;
	};

	pinctrl_uart2: uart2grp {
		fsl,pins = <
			MX8MQ_IOMUXC_UART2_RXD_UART2_DCE_RX		0x49
			MX8MQ_IOMUXC_UART2_TXD_UART2_DCE_TX		0x49
			MX8MQ_IOMUXC_UART4_RXD_UART2_DCE_CTS_B		0x49
//			MX8MQ_IOMUXC_UART4_TXD_UART2_DCE_RTS_B		0x49
			MX8MQ_IOMUXC_UART4_TXD_GPIO5_IO29		0x19
		>;
	};

	pinctrl_uart3: uart3grp {
		fsl,pins = <
			MX8MQ_IOMUXC_UART3_TXD_UART3_DCE_TX		0x49
			MX8MQ_IOMUXC_UART3_RXD_UART3_DCE_RX		0x49
			MX8MQ_IOMUXC_ECSPI1_MISO_UART3_DCE_CTS_B	0x49
			MX8MQ_IOMUXC_ECSPI1_SS0_UART3_DCE_RTS_B		0x49
			MX8MQ_IOMUXC_NAND_CLE_GPIO3_IO5			0x19
		>;
	};

	pinctrl_usdhc1: usdhc1grp {
		fsl,pins = <
			MX8MQ_IOMUXC_SD1_CLK_USDHC1_CLK			0x83
			MX8MQ_IOMUXC_SD1_CMD_USDHC1_CMD			0xc3
			MX8MQ_IOMUXC_SD1_DATA0_USDHC1_DATA0		0xc3
			MX8MQ_IOMUXC_SD1_DATA1_USDHC1_DATA1		0xc3
			MX8MQ_IOMUXC_SD1_DATA2_USDHC1_DATA2		0xc3
			MX8MQ_IOMUXC_SD1_DATA3_USDHC1_DATA3		0xc3
			MX8MQ_IOMUXC_SD1_DATA4_USDHC1_DATA4		0xc3
			MX8MQ_IOMUXC_SD1_DATA5_USDHC1_DATA5		0xc3
			MX8MQ_IOMUXC_SD1_DATA6_USDHC1_DATA6		0xc3
			MX8MQ_IOMUXC_SD1_DATA7_USDHC1_DATA7		0xc3
			MX8MQ_IOMUXC_SD1_STROBE_USDHC1_STROBE		0x83
			MX8MQ_IOMUXC_SD1_RESET_B_USDHC1_RESET_B		0xc1
		>;
	};

	pinctrl_usdhc1_100mhz: usdhc1-100grp {
		fsl,pins = <
			MX8MQ_IOMUXC_SD1_CLK_USDHC1_CLK			0x8d
			MX8MQ_IOMUXC_SD1_CMD_USDHC1_CMD			0xcd
			MX8MQ_IOMUXC_SD1_DATA0_USDHC1_DATA0		0xcd
			MX8MQ_IOMUXC_SD1_DATA1_USDHC1_DATA1		0xcd
			MX8MQ_IOMUXC_SD1_DATA2_USDHC1_DATA2		0xcd
			MX8MQ_IOMUXC_SD1_DATA3_USDHC1_DATA3		0xcd
			MX8MQ_IOMUXC_SD1_DATA4_USDHC1_DATA4		0xcd
			MX8MQ_IOMUXC_SD1_DATA5_USDHC1_DATA5		0xcd
			MX8MQ_IOMUXC_SD1_DATA6_USDHC1_DATA6		0xcd
			MX8MQ_IOMUXC_SD1_DATA7_USDHC1_DATA7		0xcd
			MX8MQ_IOMUXC_SD1_STROBE_USDHC1_STROBE		0x8d
			MX8MQ_IOMUXC_SD1_RESET_B_USDHC1_RESET_B		0xc1
		>;
	};

	pinctrl_usdhc1_200mhz: usdhc1-200grp {
		fsl,pins = <
			MX8MQ_IOMUXC_SD1_CLK_USDHC1_CLK			0x9f
			MX8MQ_IOMUXC_SD1_CMD_USDHC1_CMD			0xdf
			MX8MQ_IOMUXC_SD1_DATA0_USDHC1_DATA0		0xdf
			MX8MQ_IOMUXC_SD1_DATA1_USDHC1_DATA1		0xdf
			MX8MQ_IOMUXC_SD1_DATA2_USDHC1_DATA2		0xdf
			MX8MQ_IOMUXC_SD1_DATA3_USDHC1_DATA3		0xdf
			MX8MQ_IOMUXC_SD1_DATA4_USDHC1_DATA4		0xdf
			MX8MQ_IOMUXC_SD1_DATA5_USDHC1_DATA5		0xdf
			MX8MQ_IOMUXC_SD1_DATA6_USDHC1_DATA6		0xdf
			MX8MQ_IOMUXC_SD1_DATA7_USDHC1_DATA7		0xdf
			MX8MQ_IOMUXC_SD1_STROBE_USDHC1_STROBE		0x9f
			MX8MQ_IOMUXC_SD1_RESET_B_USDHC1_RESET_B		0xc1
		>;
	};

	pinctrl_usdhc2: usdhc2grp {
		fsl,pins = <
			MX8MQ_IOMUXC_SD2_CLK_USDHC2_CLK			0x83
			MX8MQ_IOMUXC_SD2_CMD_USDHC2_CMD			0xc3
			MX8MQ_IOMUXC_SD2_DATA0_USDHC2_DATA0		0xc3
			MX8MQ_IOMUXC_SD2_DATA1_USDHC2_DATA1		0xc3
			MX8MQ_IOMUXC_SD2_DATA2_USDHC2_DATA2		0xc3
			MX8MQ_IOMUXC_SD2_DATA3_USDHC2_DATA3		0xc3
			MX8MQ_IOMUXC_GPIO1_IO04_USDHC2_VSELECT		0xc1
		>;
	};

	pinctrl_usdhc2_100mhz: usdhc2-100grp {
		fsl,pins = <
			MX8MQ_IOMUXC_SD2_CLK_USDHC2_CLK			0x85
			MX8MQ_IOMUXC_SD2_CMD_USDHC2_CMD			0xc5
			MX8MQ_IOMUXC_SD2_DATA0_USDHC2_DATA0		0xc5
			MX8MQ_IOMUXC_SD2_DATA1_USDHC2_DATA1		0xc5
			MX8MQ_IOMUXC_SD2_DATA2_USDHC2_DATA2		0xc5
			MX8MQ_IOMUXC_SD2_DATA3_USDHC2_DATA3		0xc5
			MX8MQ_IOMUXC_GPIO1_IO04_USDHC2_VSELECT		0xc1
		>;
	};

	pinctrl_usdhc2_200mhz: usdhc2-200grp {
		fsl,pins = <
			MX8MQ_IOMUXC_SD2_CLK_USDHC2_CLK			0x87
			MX8MQ_IOMUXC_SD2_CMD_USDHC2_CMD			0xc7
			MX8MQ_IOMUXC_SD2_DATA0_USDHC2_DATA0		0xc7
			MX8MQ_IOMUXC_SD2_DATA1_USDHC2_DATA1		0xc7
			MX8MQ_IOMUXC_SD2_DATA2_USDHC2_DATA2		0xc7
			MX8MQ_IOMUXC_SD2_DATA3_USDHC2_DATA3		0xc7
			MX8MQ_IOMUXC_GPIO1_IO04_USDHC2_VSELECT		0xc1
		>;
	};

	pinctrl_wdog: wdog1grp {
		fsl,pins = <
			MX8MQ_IOMUXC_GPIO1_IO02_WDOG1_WDOG_B		0xc6
		>;
	};
};

&vpu {
	status = "okay";
};

&gpu3d {
	status = "okay";
};

&irqsteer {
	status = "okay";
};

&dcss {
	status = "okay";

	port@0 {
		dcss_out: endpoint {
			  remote-endpoint = <&hdmi_in>;
		};
	};
};

&hdmi {
	compatible = "cdn,imx8mq-hdmi";
	lane-mapping = <0xe4>;
	hdcp-config = <0x3>;
	status = "okay";
	port@1 {
		hdmi_in: endpoint {
			remote-endpoint = <&dcss_out>;
		};
	};
};

&ecspi1 {
	fsl,spi-num-chipselects = <1>;
	pinctrl-names = "default";
	pinctrl-0 = <&pinctrl_ecspi1 &pinctrl_ecspi1_cs>;
	cs-gpios = <&gpio5 9 GPIO_ACTIVE_HIGH>;
	status = "okay";
};

&ecspi2 {
	fsl,spi-num-chipselects = <1>;
	pinctrl-names = "default";
	pinctrl-0 = <&pinctrl_ecspi2>,<&pinctrl_ecspi2_cs>;
	cs-gpios = <&gpio5 13 GPIO_ACTIVE_HIGH>;
	status = "okay";
};
